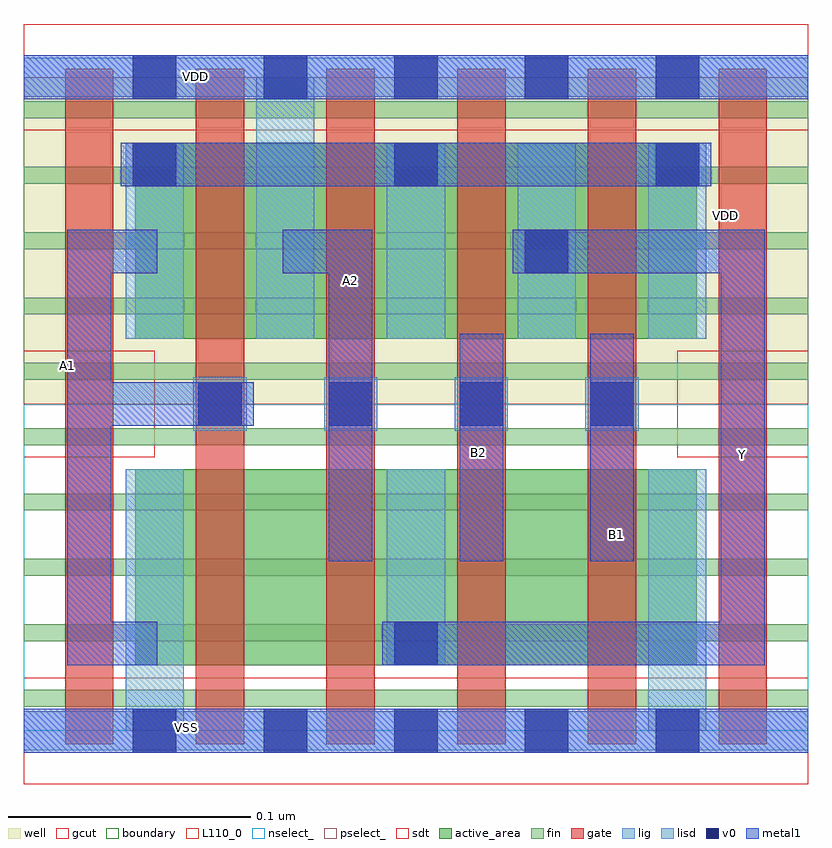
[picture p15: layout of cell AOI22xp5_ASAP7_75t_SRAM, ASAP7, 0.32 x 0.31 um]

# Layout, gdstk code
import gdstk
lib = gdstk.Library(unit=1e-6, precision=2.5e-10)
def R(c, l, rs):  # rectangles x0, y0, x1, y1
    for r in rs: c.add(gdstk.rectangle(r[:2], r[2:], *l))
def A(c, l, x, y, w, h, nx, ny, dx, dy):  # array of equal rectangles
    R(c, l, [(x+i*dx, y+j*dy, x+i*dx+w, y+j*dy+h) for i in range(nx) for j in range(ny)])
def P(c, l, *ps):  # polygons
    for p in ps: c.add(gdstk.Polygon(p, *l))
well = (1, 0)
fin = (2, 0)
gate = (7, 0)
gcut = (10, 0)
active_area = (11, 0)
nselect_ = (12, 0)
pselect_ = (13, 0)
lig = (16, 0)
lisd = (17, 0)
v0 = (18, 0)
metal1 = (19, 0)
sdt = (88, 0)
boundary = (100, 0)
L110_0 = (110, 0)

aoi22xp5_asap7_75t_sram = lib.new_cell('AOI22xp5_ASAP7_75t_SRAM')
R(aoi22xp5_asap7_75t_sram, well, [(0,0.135,0.324,0.27)])
A(aoi22xp5_asap7_75t_sram, fin, 0, 0.01, 0.324, 0.007, 1, 10, 0, 0.027)
A(aoi22xp5_asap7_75t_sram, gate, 0.017, -0.0055, 0.02, 0.279, 6, 1, 0.054, 0)
R(aoi22xp5_asap7_75t_sram, gcut, [(0,-0.022,0.324,0.022), (0,0.113,0.054,0.157), (0.27,0.113,0.324,0.157), (0,0.248,0.324,0.292)])
R(aoi22xp5_asap7_75t_sram, active_area, [(0.046,0.027,0.278,0.108), (0.046,0.162,0.278,0.243)])
R(aoi22xp5_asap7_75t_sram, nselect_, [(0,0,0.324,0.135)])
R(aoi22xp5_asap7_75t_sram, pselect_, [(0,0.135,0.324,0.27)])
A(aoi22xp5_asap7_75t_sram, lig, 0.07, 0.124, 0.022, 0.022, 4, 1, 0.054, 0)
R(aoi22xp5_asap7_75t_sram, lig, [(0,-0.008,0.324,0.008), (0,0.262,0.324,0.278)])
A(aoi22xp5_asap7_75t_sram, lisd, 0.15, 0.162, 0.024, 0.081, 3, 1, 0.054, 0)
R(aoi22xp5_asap7_75t_sram, lisd, [(0.042,0,0.066,0.108), (0.258,0,0.282,0.108), (0.15,0.027,0.174,0.108), (0.042,0.162,0.066,0.243), (0.096,0.162,0.12,0.27)])
A(aoi22xp5_asap7_75t_sram, v0, 0.045, -0.009, 0.018, 0.018, 5, 2, 0.054, 0.27)
A(aoi22xp5_asap7_75t_sram, v0, 0.072, 0.126, 0.018, 0.018, 4, 1, 0.054, 0)
A(aoi22xp5_asap7_75t_sram, v0, 0.045, 0.225, 0.018, 0.018, 3, 1, 0.108, 0)
R(aoi22xp5_asap7_75t_sram, v0, [(0.153,0.027,0.171,0.045), (0.207,0.189,0.225,0.207)])
R(aoi22xp5_asap7_75t_sram, metal1, [(0,-0.009,0.324,0.009), (0.18,0.07,0.198,0.164), (0.234,0.07,0.252,0.164), (0.04,0.225,0.284,0.243), (0,0.261,0.324,0.279)])
P(aoi22xp5_asap7_75t_sram, metal1, [(0.306,0.207),(0.202,0.207),(0.202,0.189),(0.288,0.189),(0.288,0.045),(0.148,0.045),(0.148,0.027),(0.306,0.027)],
  [(0.095,0.144),(0.036,0.144),(0.036,0.189),(0.055,0.189),(0.055,0.207),(0.018,0.207),(0.018,0.027),(0.055,0.027),(0.055,0.045),(0.036,0.045),(0.036,0.126),(0.095,0.126)],
  [(0.144,0.207),(0.107,0.207),(0.107,0.189),(0.126,0.189),(0.126,0.07),(0.144,0.07)])
A(aoi22xp5_asap7_75t_sram, sdt, 0.042, 0.027, 0.024, 0.081, 3, 1, 0.108, 0)
A(aoi22xp5_asap7_75t_sram, sdt, 0.042, 0.162, 0.024, 0.081, 5, 1, 0.054, 0)
R(aoi22xp5_asap7_75t_sram, boundary, [(0,0,0.324,0.27)])
R(aoi22xp5_asap7_75t_sram, L110_0, [(0,0,0.324,0.27)])
aoi22xp5_asap7_75t_sram.add(gdstk.Label('VDD', (0.29,0.213), layer=1, texttype=251))
aoi22xp5_asap7_75t_sram.add(gdstk.Label('A1', (0.018,0.151), layer=19, texttype=251))
aoi22xp5_asap7_75t_sram.add(gdstk.Label('Y', (0.297,0.114), layer=19, texttype=251))
aoi22xp5_asap7_75t_sram.add(gdstk.Label('A2', (0.135,0.186), layer=19, texttype=251))
aoi22xp5_asap7_75t_sram.add(gdstk.Label('VDD', (0.071,0.2705), layer=19, texttype=251))
aoi22xp5_asap7_75t_sram.add(gdstk.Label('B2', (0.188,0.115), layer=19, texttype=251))
aoi22xp5_asap7_75t_sram.add(gdstk.Label('B1', (0.245,0.081), layer=19, texttype=251))
aoi22xp5_asap7_75t_sram.add(gdstk.Label('VSS', (0.067,0.0015), layer=19, texttype=251))
aoi22xp5_asap7_75t_sram.add(gdstk.Label('VSS', (0.207,-0.046), layer=3, texttype=251))

lib.write_gds('AOI22xp5_ASAP7_75t_SRAM.gds')
